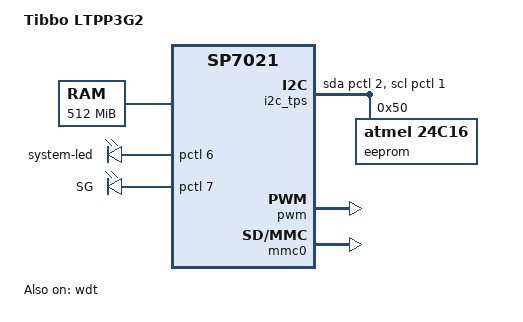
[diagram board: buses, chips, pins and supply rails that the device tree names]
// SPDX-License-Identifier: GPL-2.0
/*
 * Device Tree Source for Tibbo LTPP board G2
 *
 * Copyright (C) 2021 Sunplus Technology Co.
 */

/dts-v1/;

#include "sunplus-sp7021-achip.dtsi"

/ {
	compatible = "tibbo,ltpp3g2", "sunplus,sp7021";
	model = "Tibbo LTPP3G2";

	aliases {
		serial0 = &uart0;
	};

	chosen {
		stdout-path = "serial0:115200n8";
	};

	memory@0 {
		device_type = "memory";
		reg = <0x00000000 0x20000000>; /* 512MB */
	};

	i2c_tps: i2c {
		compatible = "i2c-gpio";
		sda-gpios = <&pctl 2 (GPIO_ACTIVE_HIGH | GPIO_OPEN_DRAIN)>;
		scl-gpios = <&pctl 1 (GPIO_ACTIVE_HIGH | GPIO_OPEN_DRAIN)>;
		i2c-gpio,delay-us = <5>;
		#address-cells = <1>;
		#size-cells = <0>;
		pinctrl-names = "default";
		pinctrl-0 = <&pins_i2ctps>;
		eeprom: eeprom@50 {
			compatible = "atmel,24c16";
			reg = <0x50>;
			pagesize = <16>;
		};
	};
};

&leds {
	pinctrl-names = "default", "sleep";
	pinctrl-0 = <&gpio_leds_pins>;
	pinctrl-1 = <&leds_s0_slp>;
	led-0 {
		label = "system-led";
		gpios = <&pctl 6 GPIO_ACTIVE_HIGH>;
		default-state = "off";
		linux,default-trigger = "heartbeat";
	};
	led-1 {
		label = "SG";
		gpios = <&pctl 7 GPIO_ACTIVE_HIGH>;
		linux,default-trigger = "mmc0";
		default-state = "off";
	};
};

&pwm {
	pinctrl-names = "default";
	pinctrl-0 = <&pins_pwm>;
	status = "okay";
};

&uart1 {
	pinctrl-names = "default";
	pinctrl-0 = <&pins_uart1>;
	status = "disabled";
};

&uart2 {
	pinctrl-names = "default";
	pinctrl-0 = <&pins_uart2>;
	status = "disabled";
};

&uart3 {
	pinctrl-names = "default";
	pinctrl-0 = <&pins_uart3>;
	status = "disabled";
};

&uart4 {
	pinctrl-names = "default";
	pinctrl-0 = <&pins_btuart &pins_bt_reset>;
	status = "disabled";
};

&mmc0 {
	status = "okay";
};

&wdt {
	status = "okay";
};

&pctl {
	pinctrl-names = "default";
	pinctrl-0 = <&pins_gpio_nobinded>;

	pins_pwm: pinmux-pwm-pins {
		sunplus,pins = <
			SPPCTL_IOPAD(48, SPPCTL_PCTL_G_PMUX, MUXF_PWM0, 0)
		>;
	};

	pins_gpio_nobinded: pinmux-gpio-nobinded-pins {
		sunplus,pins = <
			SPPCTL_IOPAD(30, SPPCTL_PCTL_G_GPIO, 0, 0)   /* was L2SW_LED_FLASH1 */
			SPPCTL_IOPAD(39, SPPCTL_PCTL_G_GPIO, 0, 0)   /* was L2SW_LED_ON1  */
		>;
	};

	pins_i2ctps: pinmux-i2c-pins {
		sunplus,pins = <
			SPPCTL_IOPAD(1, SPPCTL_PCTL_G_GPIO, 0,
				     SPPCTL_PCTL_L_OU1 | SPPCTL_PCTL_L_ODR)
			SPPCTL_IOPAD(2, SPPCTL_PCTL_G_GPIO, 0,
				     SPPCTL_PCTL_L_OU1 | SPPCTL_PCTL_L_ODR)
		>;
	};

	gpio_leds_pins: pinmux-gpio-leds-pins {
		sunplus,pins = <
			SPPCTL_IOPAD(6, SPPCTL_PCTL_G_GPIO, 0, SPPCTL_PCTL_L_OUT)
			SPPCTL_IOPAD(7, SPPCTL_PCTL_G_GPIO, 0, SPPCTL_PCTL_L_OUT)
		>;
	};

	leds_s0_slp: pinmux-user-leds-s0-slp-pins {
		sunplus,pins = <
			SPPCTL_IOPAD(6, SPPCTL_PCTL_G_GPIO, 0, 0)
			SPPCTL_IOPAD(7, SPPCTL_PCTL_G_GPIO, 0, 0)
		>;
	};

	pins_uart1: pinmux-uart1-pins {
		sunplus,pins = <
			SPPCTL_IOPAD(8, SPPCTL_PCTL_G_PMUX, MUXF_UA1_TX, 0)
			SPPCTL_IOPAD(9, SPPCTL_PCTL_G_PMUX, MUXF_UA1_RX, 0)
			SPPCTL_IOPAD(10, SPPCTL_PCTL_G_PMUX, MUXF_UA1_RTS, 0)
			SPPCTL_IOPAD(11, SPPCTL_PCTL_G_PMUX, MUXF_UA1_CTS, 0)
		>;
	};

	pins_uart2: pinmux-uart2-pins {
		sunplus,pins = <
			SPPCTL_IOPAD(12, SPPCTL_PCTL_G_PMUX, MUXF_UA2_TX, 0)
			SPPCTL_IOPAD(13, SPPCTL_PCTL_G_PMUX, MUXF_UA2_RX, 0)
			SPPCTL_IOPAD(14, SPPCTL_PCTL_G_PMUX, MUXF_UA2_RTS, 0)
			SPPCTL_IOPAD(15, SPPCTL_PCTL_G_PMUX, MUXF_UA2_CTS, 0)
		>;
	};

	pins_uart3: pinmux-uart3-pins {
		sunplus,pins = <
			SPPCTL_IOPAD(16, SPPCTL_PCTL_G_PMUX, MUXF_UA3_TX, 0)
			SPPCTL_IOPAD(17, SPPCTL_PCTL_G_PMUX, MUXF_UA3_RX, 0)
			SPPCTL_IOPAD(18, SPPCTL_PCTL_G_PMUX, MUXF_UA3_RTS, 0)
			SPPCTL_IOPAD(19, SPPCTL_PCTL_G_PMUX, MUXF_UA3_CTS, 0)
		>;
	};

	/* AP6256 Bluetooth */
	pins_btuart: pinmux-btuart-pins {
		sunplus,pins = <
			SPPCTL_IOPAD(40, SPPCTL_PCTL_G_PMUX, MUXF_UA4_RX, 0)
			SPPCTL_IOPAD(41, SPPCTL_PCTL_G_PMUX, MUXF_UA4_TX, 0)
			SPPCTL_IOPAD(56, SPPCTL_PCTL_G_PMUX, MUXF_UA4_RTS, 0)
			SPPCTL_IOPAD(49, SPPCTL_PCTL_G_PMUX, MUXF_UA4_CTS, 0)
		>;
	};

	pins_bt_reset: pinmux-bt-reset-pins {
		sunplus,pins = < SPPCTL_IOPAD(82, SPPCTL_PCTL_G_GPIO, 0, 0) >;
	};

};
